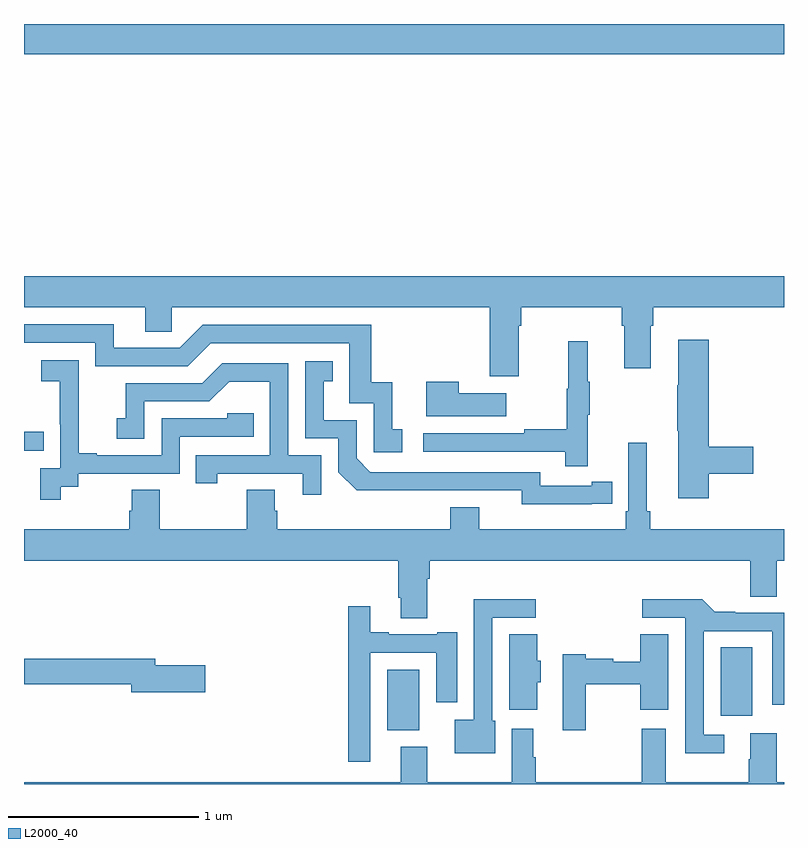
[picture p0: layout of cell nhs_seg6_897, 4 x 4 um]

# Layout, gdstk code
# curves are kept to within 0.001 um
import gdstk
lib = gdstk.Library(unit=1e-6, precision=1e-09)
def R(c, l, rs):  # rectangles x0, y0, x1, y1
    for r in rs: c.add(gdstk.rectangle(r[:2], r[2:], *l))
def P(c, l, *ps):  # polygons
    for p in ps: c.add(gdstk.Polygon(p, *l))
L2000_40 = (2000, 40)

nhs_seg6_897 = lib.new_cell('nhs_seg6_897')
R(nhs_seg6_897, L2000_40, [(168.911,939.782,169.081,940.102), (170.666,939.858,170.833,940.22), (167,941.253,167.105,941.354), (167,943.34,171,943.5)])
P(nhs_seg6_897, L2000_40, [(169.603,941.912),(169.616,941.912),(169.616,942.008),(170.147,942.008),(170.147,941.912),(170.159,941.912),(170.159,941.688),(170.299,941.688),(170.299,941.912),(170.312,941.912),(170.312,942.008),(171,942.008),(171,942.172),(167,942.172),(167,942.008),(167.639,942.008),(167.639,941.881),(167.778,941.881),(167.778,942.008),(169.451,942.008),(169.451,941.646),(169.603,941.646)],
  [(168.991,941.367),(168.938,941.367),(168.938,941.614),(168.827,941.614),(168.827,941.916),(167.94,941.916),(167.82,941.796),(167.473,941.796),(167.473,941.919),(167,941.919),(167,941.823),(167.376,941.823),(167.376,941.7),(167.862,941.7),(167.982,941.82),(168.711,941.82),(168.711,941.505),(168.84,941.505),(168.84,941.247),(168.991,941.247)],
  [(170.603,941.134),(170.839,941.134),(170.839,941.276),(170.603,941.276),(170.603,941.839),(170.444,941.839),(170.444,941.6),(170.437,941.6),(170.437,941.359),(170.444,941.359),(170.444,941.004),(170.603,941.004)],
  [(169.967,941.443),(169.978,941.443),(169.978,941.617),(169.967,941.617),(169.967,941.83),(169.864,941.83),(169.864,941.58),(169.857,941.58),(169.857,941.366),(169.633,941.366),(169.633,941.346),(169.101,941.346),(169.101,941.25),(169.849,941.25),(169.849,941.172),(169.967,941.172)],
  [(167.194,941.065),(167.286,941.065),(167.286,941.133),(167.82,941.133),(167.82,941.328),(168.209,941.328),(168.209,941.451),(168.069,941.451),(168.069,941.424),(167.724,941.424),(167.724,941.229),(167.383,941.229),(167.383,941.242),(167.288,941.242),(167.288,941.525),(167.289,941.525),(167.289,941.731),(167.091,941.731),(167.091,941.621),(167.189,941.621),(167.189,941.393),(167.19,941.393),(167.19,941.163),(167.085,941.163),(167.085,940.995),(167.194,940.995)],
  [(169.988,940.974),(170.096,940.974),(170.096,941.09),(169.988,941.09),(169.988,941.07),(169.716,941.07),(169.716,941.142),(168.822,941.142),(168.75,941.214),(168.75,941.415),(168.577,941.415),(168.577,941.619),(168.626,941.619),(168.626,941.725),(168.48,941.725),(168.48,941.319),(168.654,941.319),(168.654,941.142),(168.752,941.045),(169.62,941.046),(169.62,940.973)],
  [(168.564,941.229),(168.39,941.229),(168.39,941.715),(168.044,941.715),(167.939,941.61),(167.536,941.61),(167.536,941.425),(167.487,941.425),(167.487,941.316),(167.634,941.316),(167.634,941.514),(167.976,941.514),(168.08,941.618),(168.294,941.618),(168.294,941.229),(167.905,941.229),(167.905,941.082),(168.016,941.082),(168.016,941.133),(168.467,941.133),(168.467,941.022),(168.564,941.022)],
  [(169.537,941.557),(169.289,941.557),(169.289,941.617),(169.118,941.617),(169.118,941.435),(169.537,941.435)],
  [(169.123,940.58),(169.136,940.58),(169.136,940.676),(170.822,940.676),(170.822,940.486),(170.962,940.486),(170.962,940.676),(171,940.676),(171,940.84),(170.297,940.84),(170.297,940.936),(170.278,940.936),(170.278,941.296),(170.181,941.296),(170.181,940.936),(170.168,940.936),(170.168,940.84),(169.396,940.84),(169.396,940.957),(169.244,940.957),(169.244,940.84),(168.332,940.84),(168.332,940.938),(168.319,940.938),(168.319,941.048),(168.172,941.048),(168.172,940.84),(167.715,940.84),(167.715,941.048),(167.567,941.048),(167.567,940.938),(167.555,940.938),(167.555,940.84),(167,940.84),(167,940.676),(168.971,940.676),(168.971,940.48),(168.983,940.48),(168.983,940.372),(169.123,940.372)],
  [(169.48,939.834),(169.464,939.834),(169.464,940.374),(169.693,940.374),(169.693,940.472),(169.368,940.472),(169.368,939.838),(169.268,939.838),(169.268,939.662),(169.48,939.662)],
  [(170.686,939.759),(170.577,939.759),(170.577,940.305),(170.937,940.305),(170.937,939.918),(171,939.918),(171,940.401),(170.743,940.401),(170.743,940.406),(170.635,940.406),(170.57,940.472),(170.253,940.472),(170.253,940.374),(170.481,940.374),(170.481,939.662),(170.686,939.662)],
  [(168.822,940.191),(169.169,940.191),(169.169,939.93),(169.279,939.93),(169.279,940.3),(169.175,940.3),(169.175,940.287),(168.919,940.287),(168.919,940.3),(168.823,940.3),(168.823,940.435),(168.706,940.435),(168.706,939.618),(168.822,939.618)],
  [(169.702,940.035),(169.72,940.035),(169.72,940.149),(169.702,940.149),(169.702,940.289),(169.553,940.289),(169.553,939.891),(169.702,939.891)],
  [(169.957,940.024),(170.243,940.024),(170.243,939.891),(170.392,939.891),(170.392,940.289),(170.243,940.289),(170.243,940.143),(170.1,940.143),(170.1,940.16),(169.957,940.16),(169.957,940.184),(169.835,940.184),(169.835,939.783),(169.957,939.783)],
  [(167.953,940.124),(167.692,940.124),(167.692,940.16),(167,940.16),(167,940.024),(167.564,940.024),(167.564,939.982),(167.953,939.982)],
  [(169.568,939.79),(169.568,939.508),(169.123,939.508),(169.123,939.697),(168.983,939.697),(168.983,939.508),(167,939.508),(167,939.5),(171,939.5),(171,939.508),(170.962,939.508),(170.962,939.766),(170.822,939.766),(170.822,939.629),(170.815,939.629),(170.815,939.508),(170.377,939.508),(170.377,939.79),(170.252,939.79),(170.252,939.508),(169.694,939.508),(169.694,939.641),(169.681,939.641),(169.681,939.79)])

lib.write_gds('nhs_seg6_897.gds')
